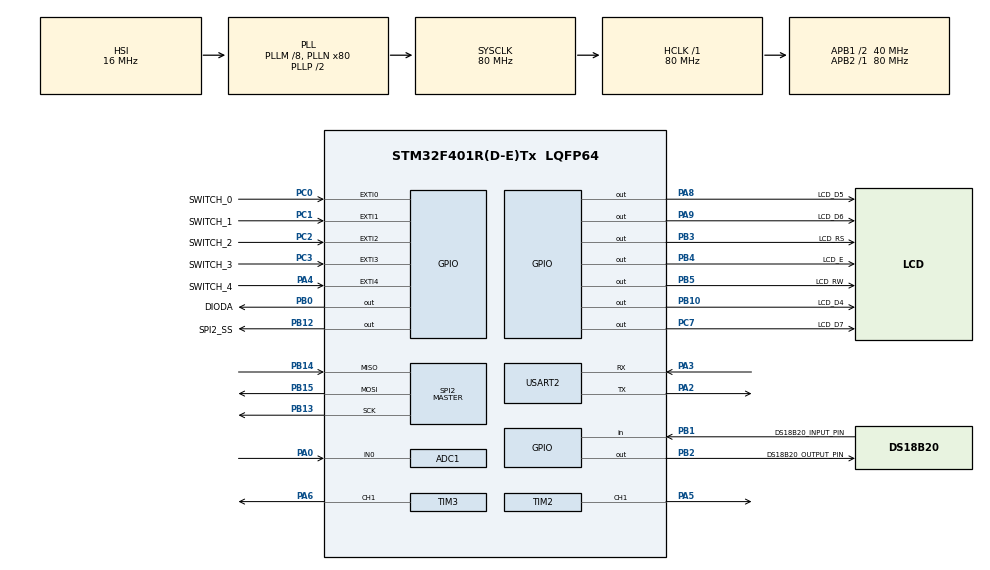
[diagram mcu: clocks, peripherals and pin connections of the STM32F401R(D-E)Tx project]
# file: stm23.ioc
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ADC1.Channel-3\#ChannelRegularConversion=ADC_CHANNEL_0
ADC1.Channel-4\#ChannelRegularConversion=ADC_CHANNEL_TEMPSENSOR
ADC1.ClockPrescaler=ADC_CLOCK_SYNC_PCLK_DIV8
ADC1.ContinuousConvMode=DISABLE
ADC1.DMAContinuousRequests=ENABLE
ADC1.EOCSelection=ADC_EOC_SEQ_CONV
ADC1.NbrOfConversion=2
ADC1.NbrOfConversionFlag=1
ADC1.Rank-3\#ChannelRegularConversion=1
ADC1.Rank-4\#ChannelRegularConversion=2
ADC1.SamplingTime-3\#ChannelRegularConversion=ADC_SAMPLETIME_480CYCLES
ADC1.SamplingTime-4\#ChannelRegularConversion=ADC_SAMPLETIME_480CYCLES
ADC1.master=1
Dma.ADC1.0.Direction=DMA_PERIPH_TO_MEMORY
Dma.ADC1.0.FIFOMode=DMA_FIFOMODE_DISABLE
Dma.ADC1.0.Instance=DMA2_Stream0
Dma.ADC1.0.MemDataAlignment=DMA_MDATAALIGN_WORD
Dma.ADC1.0.MemInc=DMA_MINC_ENABLE
Dma.ADC1.0.Mode=DMA_CIRCULAR
Dma.ADC1.0.PeriphDataAlignment=DMA_PDATAALIGN_WORD
Dma.ADC1.0.PeriphInc=DMA_PINC_DISABLE
Dma.ADC1.0.Priority=DMA_PRIORITY_LOW
Dma.Request0=ADC1
Mcu.Family=STM32F4
Mcu.Name=STM32F401R(D-E)Tx
Mcu.Package=LQFP64
NVIC.DMA2_Stream0_IRQn=true\:0\:0\:false\:false\:true\:false
NVIC.EXTI0_IRQn=true\:0\:0\:false\:false\:true\:true
NVIC.EXTI1_IRQn=true\:0\:0\:false\:false\:true\:true
NVIC.EXTI2_IRQn=true\:0\:0\:false\:false\:true\:true
NVIC.EXTI3_IRQn=true\:0\:0\:false\:false\:true\:true
NVIC.EXTI4_IRQn=true\:0\:0\:false\:false\:true\:true
NVIC.PriorityGroup=NVIC_PRIORITYGROUP_4
NVIC.TIM1_UP_TIM10_IRQn=true\:0\:0\:false\:false\:true\:true
NVIC.TIM5_IRQn=true\:0\:0\:false\:false\:true\:true
NVIC.USART2_IRQn=true\:0\:0\:false\:false\:true\:true
PA0-WKUP.Signal=ADCx_IN0
PA2.Mode=Asynchronous
PA2.Signal=USART2_TX
PA3.Mode=Asynchronous
PA3.Signal=USART2_RX
PA4.GPIO_Label=SWITCH_4
PA4.GPIO_ModeDefaultEXTI=GPIO_MODE_IT_FALLING
PA4.GPIO_PuPd=GPIO_PULLUP
PA4.Signal=GPXTI4
PA5.Signal=S_TIM2_CH1_ETR
PA6.Signal=S_TIM3_CH1
PA8.GPIO_Label=LCD_D5
PA8.Signal=GPIO_Output
PA9.GPIO_Label=LCD_D6
PA9.Signal=GPIO_Output
PB0.GPIO_Label=DIODA
PB0.Signal=GPIO_Output
PB1.GPIO_Label=DS18B20_INPUT_PIN
PB1.Signal=GPIO_Input
PB10.GPIO_Label=LCD_D4
PB10.Signal=GPIO_Output
PB12.GPIO_Label=SPI2_SS
PB12.PinState=GPIO_PIN_SET
PB12.Signal=GPIO_Output
PB13.Mode=Full_Duplex_Master
PB13.Signal=SPI2_SCK
PB14.Mode=Full_Duplex_Master
PB14.Signal=SPI2_MISO
PB15.Mode=Full_Duplex_Master
PB15.Signal=SPI2_MOSI
PB2.GPIO_Label=DS18B20_OUTPUT_PIN
PB2.GPIO_ModeDefaultOutputPP=GPIO_MODE_OUTPUT_OD
PB2.Signal=GPIO_Output
PB3.GPIO_Label=LCD_RS
PB3.Signal=GPIO_Output
PB4.GPIO_Label=LCD_E
PB4.Signal=GPIO_Output
PB5.GPIO_Label=LCD_RW
PB5.Signal=GPIO_Output
PC0.GPIO_Label=SWITCH_0
PC0.GPIO_ModeDefaultEXTI=GPIO_MODE_IT_FALLING
PC0.GPIO_PuPd=GPIO_PULLUP
PC0.Signal=GPXTI0
PC1.GPIO_Label=SWITCH_1
PC1.GPIO_ModeDefaultEXTI=GPIO_MODE_IT_FALLING
PC1.GPIO_PuPd=GPIO_PULLUP
PC1.Signal=GPXTI1
PC2.GPIO_Label=SWITCH_2
PC2.GPIO_ModeDefaultEXTI=GPIO_MODE_IT_FALLING
PC2.GPIO_PuPd=GPIO_PULLUP
PC2.Signal=GPXTI2
PC3.GPIO_Label=SWITCH_3
PC3.GPIO_ModeDefaultEXTI=GPIO_MODE_IT_FALLING
PC3.GPIO_PuPd=GPIO_PULLUP
PC3.Signal=GPXTI3
PC7.GPIO_Label=LCD_D7
PC7.Signal=GPIO_Output
ProjectManager.HeapSize=0x200
ProjectManager.StackSize=0x400
ProjectManager.TargetToolchain=MDK-ARM V5
RCC.48MHZClocksFreq_Value=40000000
RCC.AHBFreq_Value=80000000
RCC.APB1CLKDivider=RCC_HCLK_DIV2
RCC.APB1Freq_Value=40000000
RCC.APB1TimFreq_Value=80000000
RCC.APB2Freq_Value=80000000
RCC.APB2TimFreq_Value=80000000
RCC.CortexFreq_Value=80000000
RCC.HCLKFreq_Value=80000000
RCC.HSE_VALUE=25000000
RCC.HSI_VALUE=16000000
RCC.LSE_VALUE=32768
RCC.PLLM=8
RCC.PLLN=80
RCC.SYSCLKFreq_VALUE=80000000
RCC.SYSCLKSource=RCC_SYSCLKSOURCE_PLLCLK
RCC.VCOOutputFreq_Value=160000000
RTC.Date=23
RTC.DayLightSaving=RTC_DAYLIGHTSAVING_ADD1H
RTC.Hours=12
RTC.WeekDay=RTC_WEEKDAY_WEDNESDAY
RTC.Year=19
SH.ADCx_IN0.0=ADC1_IN0,IN0
SH.S_TIM2_CH1_ETR.0=TIM2_CH1,PWM Generation1 CH1
SH.S_TIM3_CH1.0=TIM3_CH1,PWM Generation1 CH1
SPI2.BaudRatePrescaler=SPI_BAUDRATEPRESCALER_128
SPI2.Direction=SPI_DIRECTION_2LINES
SPI2.Mode=SPI_MODE_MASTER
SPI2.VirtualType=VM_MASTER
TIM1.Period=250
TIM1.Prescaler=16000
TIM2.Channel-PWM\ Generation1\ CH1=TIM_CHANNEL_1
TIM2.CounterMode=TIM_COUNTERMODE_DOWN
TIM2.Period=1000
TIM2.Prescaler=80
TIM2.Pulse-PWM\ Generation1\ CH1=900
TIM3.Channel-PWM\ Generation1\ CH1=TIM_CHANNEL_1
TIM3.CounterMode=TIM_COUNTERMODE_DOWN
TIM3.Period=1000
TIM3.Prescaler=80
TIM3.Pulse-PWM\ Generation1\ CH1=500
TIM4.Period=65000
TIM4.Prescaler=80
TIM5.ClockDivision=TIM_CLOCKDIVISION_DIV1
TIM5.Period=5000
TIM5.Prescaler=16000
TIM9.Prescaler=16000
USART2.VirtualMode=VM_ASYNC
VP_ADC1_TempSens_Input.Mode=IN-TempSens
VP_FATFS_VS_Generic.Mode=User_defined
VP_RTC_VS_RTC_Activate.Mode=RTC_Enabled
VP_RTC_VS_RTC_Calendar.Mode=RTC_Calendar
VP_TIM1_VS_ClockSourceINT.Mode=Internal
VP_TIM2_VS_ClockSourceINT.Mode=Internal
VP_TIM3_VS_ClockSourceINT.Mode=Internal
VP_TIM4_VS_ClockSourceINT.Mode=Internal
VP_TIM5_VS_ClockSourceINT.Mode=Internal
VP_TIM9_VS_ClockSourceINT.Mode=Internal
board=custom

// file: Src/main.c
/* USER CODE BEGIN Header */
/**
  ******************************************************************************
  * @file           : main.c
  * @brief          : Main program body
  ******************************************************************************
  ** This notice applies to any and all portions of this file
  * that are not between comment pairs USER CODE BEGIN and
  * USER CODE END. Other portions of this file, whether
  * inserted by the user or by software development tools
  * are owned by their respective copyright owners.
  *
  * COPYRIGHT(c) 2018 STMicroelectronics
  *
  * Redistribution and use in source and binary forms, with or without modification,
  * are permitted provided that the following conditions are met:
  *   1. Redistributions of source code must retain the above copyright notice,
  *      this list of conditions and the following disclaimer.
  *   2. Redistributions in binary form must reproduce the above copyright notice,
  *      this list of conditions and the following disclaimer in the documentation
  *      and/or other materials provided with the distribution.
  *   3. Neither the name of STMicroelectronics nor the names of its contributors
  *      may be used to endorse or promote products derived from this software
  *      without specific prior written permission.
  *
  * THIS SOFTWARE IS PROVIDED BY THE COPYRIGHT HOLDERS AND CONTRIBUTORS "AS IS"
  * AND ANY EXPRESS OR IMPLIED WARRANTIES, INCLUDING, BUT NOT LIMITED TO, THE
  * IMPLIED WARRANTIES OF MERCHANTABILITY AND FITNESS FOR A PARTICULAR PURPOSE ARE
  * DISCLAIMED. IN NO EVENT SHALL THE COPYRIGHT HOLDER OR CONTRIBUTORS BE LIABLE
  * FOR ANY DIRECT, INDIRECT, INCIDENTAL, SPECIAL, EXEMPLARY, OR CONSEQUENTIAL
  * DAMAGES (INCLUDING, BUT NOT LIMITED TO, PROCUREMENT OF SUBSTITUTE GOODS OR
  * SERVICES; LOSS OF USE, DATA, OR PROFITS; OR BUSINESS INTERRUPTION) HOWEVER
  * CAUSED AND ON ANY THEORY OF LIABILITY, WHETHER IN CONTRACT, STRICT LIABILITY,
  * OR TORT (INCLUDING NEGLIGENCE OR OTHERWISE) ARISING IN ANY WAY OUT OF THE USE
  * OF THIS SOFTWARE, EVEN IF ADVISED OF THE POSSIBILITY OF SUCH DAMAGE.
  *
  ******************************************************************************
	*/

	/*! \mainpage Projekt PMIK 18Z: Uklad chlodzacy
 *
 * \section 	  Opis
 *
 * Projekt jest ukladem chlodzacym ktorego dzialanie opiera sie na pomiarze temperatury
 * odpowiednim czujnikiem i na podstawie wynikow uruchomienie wiatraczkow chlodzacych.
 * <br> Uklad komunikuje sie z uzytkownikiem przy uzyciu wyswietlacza LCD oraz zestawu
 * przyciskow, jak rowniez za posrednictwem UART z komputerem.<br> Uzytkownik ma wplyw na
 * tryb pomiaru okreslonym urzadzeniem, jak rowniez na moc pracy wiatraczkow oraz wartosc
 * temperatury granicznej.<br>
 * Dzialanie programu zaimpementowane zostalo przy uzyciu mikrokontrolera STM32, aplikacja
 * zas napisana w jezyku C.
 *
 * \section Peryferia
 *	Mikrokontroler STM32 F401RB<br>
 *	Termometr cyfrowy DS18B20<br>
 *	Termometr analogowy LM35<br>
 *	Wyswietlacz LCD RG1602A<br>
 *	2 Wiatraczki 5V firmy Sunon<br>
 *  Modul karty SD<br>
 *	Zestaw 4 przyciskow typu "tact-switch"<br>
 *	Mostek H do zasilania wiatrakow<br>
 *	Kasetka baterii do zasilania ukladu
 *
 *  \section Plik Main:
 *  Szczegolowy opis programu mozna znalezc w czesci opisujacej plik main.c <br>
 *
 * \section Projekt Wykonali:
 *  Piotr Drzymkowski<br>
 *  Borys Khachapuridze
 *

 */

/* USER CODE END Header */

#include "main.h"
#include "adc.h"
#include "dma.h"
#include "fatfs.h"
#include "rtc.h"
#include "spi.h"
#include "tim.h"
#include "usart.h"
#include "gpio.h"

/* USER CODE BEGIN Includes */
/** \brief Plik zawierajacy funkcje opozniajaca delay() uzywana w peryferiach ukladu */
#include "Delay.h"
/** \brief Plik zawierajacy obsluge termometru cyfrowego DS18B20 poprzez interfejs 1-wire*/
#include "DS18B20.h"
/** \brief Plik zawierajacy obsluge wyswietlacza LCD*/
#include "LCD_RG1602A.h"
#include "lcd.h"
#include <string.h>
/* USER CODE END Includes */

/* USER CODE BEGIN PD */
/** \brief Minimalny tryb pracy wiatraka okreslany jako wypelnienie sygnalu PWM */
#define FANSPEEDLOW 700
/** \brief Sredni tryb pracy wiatraka okreslany jako wypelnienie sygnalu PWM */
#define FANSPEEDMEDIUM 850
/** \brief Maksymalny tryb pracy wiatraka okreslany jako wypelnienie sygnalu PWM */
#define FANSPEEDHIGH 999
/** \brief Minimalna wartosc temepratury krytycznej jaka moze przyjac uklad */
#define TEMPERATURE_MIN 0
/** \brief Maksymalna wartosc temepratury krytycznej jaka moze przyjac uklad */
#define TEMPERATURE_MAX 70

/** \brief Tryb pracy ukladu jako pomiar rdzenia wewnetrznym czunikiem mikrokontrolera */
#define CORE 0
/** \brief Tryb pracy ukladu jako pomiar analogowym termometrem LM35*/
#define LM35 1
/** \brief Tryb pracy ukladu jako pomiar cyfrowym termometrem DS18B20 */
#define DS18B20 2

/* USER CODE END PD */

/* USER CODE BEGIN PV */
/** \brief Flaga okreslajaca czy zakonczono proces "debouncingu" dla przycisku Switch0 */
volatile uint8_t FLAG_SWITCH0_DEBOUNCING = 0;
/** \brief Flaga okreslajaca czy zakonczono proces "debouncingu" dla przycisku Switch1 */
volatile uint8_t FLAG_SWITCH1_DEBOUNCING = 0;
/** \brief Flaga okreslajaca czy zakonczono proces "debouncingu" dla przycisku Switch2 */
volatile uint8_t FLAG_SWITCH2_DEBOUNCING = 0;
/** \brief Flaga okreslajaca czy zakonczono proces "debouncingu" dla przycisku Switch3 */
volatile uint8_t FLAG_SWITCH3_DEBOUNCING = 0;
/** \brief Flaga okreslajaca czy nalezy dokonac pomiaru temperatury */
uint8_t FLAG_START_TEMPERATURE_MEASUREMENT = 0;
/** \brief Flaga okreslajaca czy przekroczono temeprature krytyczna i nalezy uruchomic wiatrak */
uint8_t FLAG_OVER_CRITICAL_TEMPERATURE = 0;
/** \brief Flaga okreslajaca czy nalezy zapisac w danym momencie dane na karcie SD*/
uint8_t FLAG_WRITE_SD = 0;
/** \brief Flaga okreslajaca czy nalezy zapisac w danym momencie konfiguracje urzadzenia*/
uint8_t FLAG_WRITE_CONFIG = 0;
/** \brief Flaga okreslajaca czy karta SD zostala poprawnie wykryta i znajduje sie na niej wystarczajaco miejsca*/
uint8_t FLAG_SD_SPACE_VALID = 0;
/** \brief Flaga okreslajaca stan pracy wiatraczka 1*/
uint8_t FLAG_FAN_1_WORK =0;
/** \brief Flaga okreslajaca stan pracy wiatraczka 2*/
uint8_t FLAG_FAN_2_WORK=0;
/** \brief Flaga wymuszajaca zapis informacji o wlaczeniu wiatraka*/
uint8_t FLAG_EVENT_ON=0;
/** \brief Flaga wymuszajaca zapis informacji o wylaczeniu wiatraka*/
uint8_t FLAG_EVENT_OFF=1;
/** \brief Tablica przechowujaca pomiary z przetwornika ADC */
uint32_t MeasurementADC[2] = {0};
/** \brief Wartosc zmierzonej i przeliczonej temperatury przez termometr LM35*/
volatile double Measurement_LM35 = 0;
/** \brief Wartosc zmierzonej i przeliczonej temperatury przez termometr DS18B20*/
volatile double Measurement_DS18B20 = 0;
/** \brief Wartosc zmierzonej i przeliczonej temperatury przez wewnetrzny czujnik STM*/
volatile double Measurement_CORE = 0;
/** \brief Zmienna okreslajaca ilosc sekund ktore minely od ostatniego pomiaru */
uint32_t seconds_counter = 0;
/** \brief Zmienna okreslajaca ilosc sekund ktore minely od ostatniego zapisu konfiguracji */
uint32_t sd_card_write_counter = 0;
/** \brief Okres, co ktory ma nastepowac pomiar */
uint32_t measurement_period = 0;
/** \brief Okres, co ktory konfiguracja zapisywana jest na karcie SD w celu odzyskania po utracie zasilania */
uint32_t sd_card_write_period = 0;//BORYS
/** \brief Tryb pomiaru urzadzenia */
uint8_t measurement_state = CORE;
/** \brief Tryb pracy wiatraka*/
uint16_t fan_speed = FANSPEEDLOW;
volatile uint32_t argument;
/** \brief Tablica znakow reprezentujaca bufor danych wysylanych poprzez UART */
char UART_BUFFER[100];
/** \brief Rozmiar bufora danych wysylanych poprzez UART */
volatile uint16_t UART_BUFFER_SIZE = 0;
/** \brief Tablica przechowujaca otrzymana wiadomosc z UART'a */
char UART_RECEIVED[20];
/** \brief Tablica przechowujaca kopie otrzymanej wiadomosc z UART'a */
char UART_RECEIVED_COPY[20];
/** \brief Tablica znakow reprezentujaca bufor danych wysylanych do wyswietlacza LCD */
char LCD_BUFFER[50];
/** \brief Tablica znakow reprezentujaca bufor danych wysylanych do karty SD */
char SD_BUFFER[250];
/** \brief Rozmiar bufora danych wysylanych do wyswietlacza LCD */
volatile uint16_t LCD_BUFFER_SIZE = 0;

/** \brief Wartosc temperaturey krytycznej ukladu */
uint32_t critical_temp = 25;
/** \brief Tablica znakow przechowujaca obecna wartosc gornej linii tekstu wyswietlanego na LCD */
char LCD_upper_line [16];
/** \brief Tablica znakow przechowujaca obecna wartosc dolnej linii tekstu wyswietlanego na LCD */
char LCD_lower_line [16];

//Fatfs object
FATFS FatFs;
//File object
FIL fil;
//SD space variables
uint32_t total_space, free_space;

int i_index = 0;
int presence = 0;
/* USER CODE END PV */

void SystemClock_Config(void);
/* USER CODE BEGIN PFP */
void SetFanState(void);
void UpdateFan(void);
void StartTemperatureMeasurement(void);
void SetDate(uint32_t unformated_date);
void SetTime(uint32_t unformated_time);
FRESULT FATFS_DriveSize(uint32_t* total, uint32_t* free);
/**
****************************************************************************************
* @brief 			Zmiana trybu pomiaru: CORE->LM35->DS18B20 <br><br>
*							Wywolywana w momencie wcisniecia przycisku Switch 0.
*
* @param 			Brak
*	@return			Brak
****************************************************************************************
*/
void CycleMeasurementState(){

	if(measurement_state == CORE)
  {
		measurement_state = LM35;
	}else if(measurement_state == LM35)
	{
		measurement_state=DS18B20;
	}else
	{
		measurement_state = CORE;
	}
}

/**
****************************************************************************************
* @brief 			Zmiana trybu mocy wiatraka: niska->srednia->duza. <br><br>
*							Wywolywana w momencie wcisniecia przycisku Switch 1.
*
* @param 			Brak
*	@return			Brak
****************************************************************************************
*/
void CycleFanState(){

	if(fan_speed == FANSPEEDLOW)
  {
		fan_speed = FANSPEEDMEDIUM;
	}else if(fan_speed  == FANSPEEDMEDIUM)
	{
		fan_speed=FANSPEEDHIGH;
	}else
	{
		fan_speed = FANSPEEDLOW;
	}
}

/**
****************************************************************************************
* @brief 			Matematyczne przeliczenie wartosci zmierzonej przez wewnetrzny czujnik
*							temperatury rdzenia mikrokontrolera na konkretna wartosc temperatury na
*							podstawie zadanego wzoru.
*
* @param 			uint32_t temperature: wartosc zmierzona przez czunik rdzenia
*	@return			(double) : wartosc temperatury
****************************************************************************************
*/
double TemperatureConversion_CORE(uint32_t temperature)
{
	double temp=temperature;
	temp=((temp*3.3/4095-0.76)/0.0025+25);
	if ((uint32_t)temp >=255) return 0;
	else return temp;
}

/**
****************************************************************************************
* @brief 			Matematyczne przeliczenie wartosci zmierzonej przez temrometr LM35 na
*							konkretna wartosc temperatury na podstawie zadanego wzoru.
*
* @param 			uint32_t temperature: wartosc zmierzona przez termometr LM35
*	@return			(double) : wartosc temperatury
****************************************************************************************
*/
double TemperatureConversion_LM35(uint32_t temperature)
{
	double temp=temperature;
	return ((temp*3.3/4095)/0.01);//10 mv/degC
}

/**
****************************************************************************************
* @brief 			Funkcja odbierajaca dane wyslane z komputera przez UART
*							poprzez obsluge callback'u zwiazanego z zakonczeniem odbioru.<br>
*							Funkcja na odebranie danych odpowiada przesylajac kopie wiadomosci z powrotem do nadawcy.<br>
*							Po odebraniu komend wymuszany jest nowy pomiar temperatury w celu aktualizacji stanu urzadzenia.<br>
*							Komendy wysylane z komputera musza byc 10 znakowe. Oto ich lista:
*							-> CMDTCRITxx - ustawienie temperatury krytycznej na zadana wartosc (np. CMDTCRIT10, ustawia na 10 stopni C)
*							-> CMDMODDS18 - tryb pomiaru za pomoca DS18B20
*							-> CMDMODLM35 - tryb pomiaru za pomoca LM35
*							-> CMDMODCORE - tryb pomiaru wewnetrznego Core mikrokontrolera
*							-> CMDFANHIGH - tryb mocy wiatraka: silny
*							-> CMDFANMEDI - tryb mocy wiatraka: sredni
*							-> CMDFANLOWE - tryb mocy wiatraka: niski
*							-> CDAxddmmyy - ustawienie i zapis daty (np.CDA1200119 ustawia date na poniedzialek 20 stycznia 2019 roku),x-numer dnia tygodnia
*							-> CTIMhhmmss - ustawienie i zapis godziny (np. CTIM120530 ustawia godzine na 12:05:30)
*							-> CMDDUMPCON - wymusza natychmiastowe zapisanie pliku konfiguracyjnego
*							-> CMDFACTORY - wymusza wstawienie do pliku konfiguracyjnego domyslnych wartosci
*
*
* @param 			UART_HandleTypeDef *huart: wskaznik na strukture zawierajaca informace konfiguracyjna
*							konkretnego USART'a
*	@return			Brak
****************************************************************************************
*/

void HAL_UART_RxCpltCallback(UART_HandleTypeDef *huart) {
	uint32_t temp_time_value;
	strlcpy(UART_RECEIVED_COPY,UART_RECEIVED,11);
	UART_BUFFER_SIZE = sprintf(UART_BUFFER, "%s\n\r" , UART_RECEIVED);
	HAL_UART_Transmit_IT(&huart2, (uint8_t*)UART_BUFFER, UART_BUFFER_SIZE); // Rozpoczecie nadawania danych z wykorzystaniem przerwan

	if(strstr(UART_RECEIVED_COPY, "CMDTCRIT") != NULL){

		//Szukanie intow na koncu stringa
		if(atoi(UART_RECEIVED_COPY+8) <= TEMPERATURE_MAX && atoi(UART_RECEIVED_COPY+8) >= TEMPERATURE_MIN)
			critical_temp = atoi(UART_RECEIVED_COPY+8);
		FLAG_START_TEMPERATURE_MEASUREMENT = 1;

	}
	if(strstr(UART_RECEIVED_COPY, "CDA") != NULL){

		temp_time_value=strtol(UART_RECEIVED_COPY+3,NULL,16);
		SetDate(temp_time_value);
		FLAG_START_TEMPERATURE_MEASUREMENT = 1;

	}
	if(strstr(UART_RECEIVED_COPY, "CTIM") != NULL){

		temp_time_value=strtol(UART_RECEIVED_COPY+4,NULL,16);
		SetTime(temp_time_value);
		FLAG_START_TEMPERATURE_MEASUREMENT = 1;

	}
	else if(strcmp(UART_RECEIVED_COPY,"CMDMODDS18")==0){

		measurement_state = DS18B20;
		FLAG_START_TEMPERATURE_MEASUREMENT = 1;

	}else if(strcmp(UART_RECEIVED_COPY,"CMDMODLM35")==0){

		measurement_state = LM35;
		FLAG_START_TEMPERATURE_MEASUREMENT = 1;

	}else if(strcmp(UART_RECEIVED_COPY,"CMDMODCORE")==0){

		measurement_state = CORE;
		FLAG_START_TEMPERATURE_MEASUREMENT = 1;

	}else if(strcmp(UART_RECEIVED_COPY,"CMDFANHIGH")==0){

		fan_speed = FANSPEEDHIGH;
		FLAG_START_TEMPERATURE_MEASUREMENT = 1;

	}else if(strcmp(UART_RECEIVED_COPY,"CMDFANLOWE")==0){

		fan_speed = FANSPEEDLOW;
		FLAG_START_TEMPERATURE_MEASUREMENT = 1;

	}else if(strcmp(UART_RECEIVED_COPY,"CMDFANMEDI")==0){

		fan_speed = FANSPEEDMEDIUM;
		FLAG_START_TEMPERATURE_MEASUREMENT = 1;

	}
	else if(strcmp(UART_RECEIVED_COPY,"CMDDUMPCON")==0){

		FLAG_WRITE_CONFIG=1;
	}
	else if(strcmp(UART_RECEIVED_COPY,"CMDFACTORY")==0){

		FLAG_WRITE_CONFIG=2;
	}

	HAL_UART_Receive_IT(&huart2, (uint8_t*)UART_RECEIVED, 10); // Ponowne wlaczenie nasluchiwania
}

/**
****************************************************************************************
* @brief 			Ustawienie daty zegara czasu rzeczywistego RTC<br><br>
*							Dane do ustawiania daty dostarczane sa w formacie xddmmyy<br>
*							x: dzien tygodnia 1-7<br>
*							dd: dzien 01-31<br>
*							mm: miesiac 01-12<br>
*							yy: rok 00-99<br>
*							Otrzymanie niepoprawnych danych powoduje ustawienie pola danych z wartosci domyslnych: poniedzialek 01.01.2000<br>
*							Funkcja wypelnia strukture typu RTC_DateTypeDef zgodnie z otrzymanymi danymi po czym
*							wywoluje funkcje konfiguracyjna HAL_RTC_SetDate(&hrtc,&data_structure,RTC_FORMAT_BCD);<br>
*
* @param 			uint32_t unformated_date: dane okreslajace date w formacie xddmmyy (x-numer dnia tygodnia)
*	@return			Brak
****************************************************************************************
*/
void SetDate(uint32_t unformated_date)
{
	//xddmmyy
	uint32_t temp;
	RTC_DateTypeDef data_structure;
	temp=(unformated_date & 0xff);
	if(temp >= 0x01 && temp <= 0x99)
	{
		data_structure.Year=temp;
	}
	else
	{
		data_structure.Year=0x00;
	}
	temp=((unformated_date >> 8) & 0xff);
	if(temp >= 0x01 && temp <= 0x12)
	{
		data_structure.Month=temp;
	}
	else
	{
		data_structure.Month=RTC_MONTH_JANUARY;
	}
	temp=((unformated_date >> 16) & 0xff);
	if(temp>=0x01 && temp<=0x31)
	{
		data_structure.Date=temp;
	}
	else
	{
		data_structure.Date=0x01;
	}
	temp=((unformated_date >> 24) & 0xf);
	if(temp >= 0x1 && temp <= 0x7)
	{
		data_structure.WeekDay=temp;
	}
	else
	{
		data_structure.WeekDay=RTC_WEEKDAY_MONDAY;
	}
	HAL_RTC_SetDate(&hrtc,&data_structure,RTC_FORMAT_BCD);
}

/**
****************************************************************************************
* @brief 			Ustawienie czasu zegara czasu rzeczywistego RTC<br><br>
*							Dane do ustawiania czasu dostarczane sa w formacie hhmmss<br>
*							hh: godziny 00-23<br>
*							mm: minuty 00-59<br>
*							ss: sekundy 00-59<br>
*							Otrzymanie niepoprawnych danych powoduje ustawienie pola danych z wartosci domyslnych: 12:00:00<br>
*							Funkcja wypelnia strukture typu RTC_TimeTypeDef zgodnie z otrzymanymi danymi po czym
*							wywoluje funkcje konfiguracyjna HAL_RTC_SetTime(&hrtc,&time_structure,RTC_FORMAT_BCD)<br>
*
* @param 			uint32_t unformated_time: dane okreslajace czas w formacie hhmmss
*	@return			Brak
****************************************************************************************
*/
void SetTime(uint32_t unformated_time)
{
	//hhmmss
	uint32_t temp;
	RTC_TimeTypeDef time_structure;
	temp=(unformated_time & 0xff);
	if(temp >= 0x01 && temp <= 0x59)
	{
		time_structure.Seconds=temp;
	}
	else
	{
		time_structure.Seconds=0x00;
	}
	temp=((unformated_time >> 8) & 0xff);
	if(temp >= 0x01 && temp <= 0x59)
	{
		time_structure.Minutes=temp;
	}
	else
	{
		time_structure.Minutes=0x00;
	}
	temp=((unformated_time >> 16) & 0xff);
	if(temp >=0x01 && temp<= 0x23)
	{
		time_structure.Hours=temp;
	}
	else
	{
		time_structure.Hours=0x12;
	}
	HAL_RTC_SetTime(&hrtc,&time_structure,RTC_FORMAT_BCD);
}

/**
****************************************************************************************
* @brief 			Zapisanie konfiguracji na karcie SD<br><br>
*							Dane konfiguracyjne zapisywane sa w postaci:<br>
*							godzina, minuty, sekundy, dzien_tygodnia, dzien, miesiac, rok, czujnik, temperatura_krytyczna, tryb_wiatraka<br>
*							W zaleznosci od stanu flagi FLAG_WRITE_CONFIG zapisywane sa biezace wartosci, lub domyslne: <br>
*							1: zapis biezacych wartosci
*							2: zapis domyslnych wartosci
*							Funkcja pobiera dane o czasie przy pomocy wywolania HAL_RTC_GetTime i HAL_RTC_GetDate. Wazna jest kolejnosc wywolan,
*							uzycie tych funkcji w innej kolejnosci spowoduje utrate spojnosci otrzymywanych danych (HAL_RTC_GetDate zwraca
*							date pozyskana w momencie wywolania funkcji HAL_RTC_GetTime)<br>
*
* @param 			Brak
*	@return			Brak
****************************************************************************************
*/
void WriteConfig(void)
{
	RTC_TimeTypeDef time_structure;
	RTC_DateTypeDef data_structure;
	HAL_RTC_GetTime(&hrtc,&time_structure,RTC_FORMAT_BCD);
	HAL_RTC_GetDate(&hrtc,&data_structure,RTC_FORMAT_BCD);
	if(FLAG_SD_SPACE_VALID ==1)
	{
		if(FLAG_WRITE_CONFIG ==1)
			{
				if (f_mount(&FatFs, "0:", 1) == FR_OK)
					{
						if (f_open(&fil, "0:config.txt", FA_CREATE_ALWAYS | FA_READ | FA_WRITE) == FR_OK)
						{
							snprintf(SD_BUFFER,250,"HH, MM, SS, dTygodnia, DD, MM, YY, czujnik, tcrit, trybWiatraka\n\r");
							if (f_puts(SD_BUFFER, &fil) < 0)
							{
								FLAG_SD_SPACE_VALID = 0;
							}
							snprintf(SD_BUFFER,250,"%.2x,%.2x,%.2x,%.1x,%.2x,%.2x,%.2x,%u,%u,%u",
							time_structure.Hours,
							time_structure.Minutes,
							time_structure.Seconds,
							data_structure.WeekDay,
							data_structure.Date,
							data_structure.Month,
							data_structure.Year,
							measurement_state,
							critical_temp,
							fan_speed);
							if (f_puts(SD_BUFFER, &fil) < 0)
							{
								FLAG_SD_SPACE_VALID = 0;
							}
						}
						f_close(&fil);
					}
					else
					{
						FLAG_SD_SPACE_VALID = 0;
					}
					f_mount(0, "0:", 1);
				}
			else if(FLAG_WRITE_CONFIG ==2)
			{
				if (f_mount(&FatFs, "0:", 1) == FR_OK)
					{
						if (f_open(&fil, "0:config.txt", FA_CREATE_ALWAYS | FA_READ | FA_WRITE) == FR_OK)
						{
							snprintf(SD_BUFFER,250,"HH, MM, SS, dTygodnia, DD, MM, YY, czujnik, tcrit, trybWiatraka\n\r");
							if (f_puts(SD_BUFFER, &fil) < 0)
							{
								FLAG_SD_SPACE_VALID = 0;
							}
							snprintf(SD_BUFFER,250,"%.2x,%.2x,%.2x,%.1x,%.2x,%.2x,%.2x,%u,%u,%u",
							0x12,
							0x00,
							0x00,
							0x01,
							0x01,
							0x01,
							0x00,
							CORE,
							25,
							FANSPEEDLOW);
							if (f_puts(SD_BUFFER, &fil) < 0)
							{
								FLAG_SD_SPACE_VALID = 0;
							}
						}
						f_close(&fil);
					}
					else
					{
						FLAG_SD_SPACE_VALID = 0;
					}
					f_mount(0, "0:", 1);
			}
			FLAG_WRITE_CONFIG = 0;
		}
}

/**
****************************************************************************************
* @brief 			Ladowanie konfiguracji z karty SD<br><br>
*							Dane konfiguracyjne zapisywane sa w postaci:<br>
*							godzina, minuty, sekundy, dzien_tygodnia, dzien, miesiac, rok, czujnik, temperatura_krytyczna, tryb_wiatraka<br>
*							Konfiguracja zapisywana jest automatycznie co minute (domyslnie), wiec utrata zasilania na niewielka ilosc czasu
*							po czym wczytanie ostatnich zapisanych danych z karty sd pozwala na dalsza prace z niewielkim bledem czasu. <br>
*							Funkcja pobiera dane o czasie przy pomocy wywolania HAL_RTC_GetTime i HAL_RTC_GetDate. Wazna jest kolejnosc wywolan,
*							uzycie tych funkcji w innej kolejnosci spowoduje utrate spojnosci otrzymywanych danych (HAL_RTC_GetDate zwraca
*							date pozyskana w momencie wywolania funkcji HAL_RTC_GetTime).<br>
*							Funkcja jest wywolywana przy starcie programu.<br>
*
* @param 			Brak
*	@return			Brak
****************************************************************************************
*/
void LoadConfig(void)
{
	RTC_TimeTypeDef time_structure;
	RTC_DateTypeDef data_structure;
	char TEMP_BUFFER[250];
	char *data;
	if(FLAG_SD_SPACE_VALID ==1)
	{
				if (f_mount(&FatFs, "0:", 1) == FR_OK)
					{
						if (f_open(&fil, "0:config.txt", FA_OPEN_ALWAYS | FA_READ | FA_WRITE) == FR_OK)
						{

							if(f_eof(&fil))
							{
								FLAG_WRITE_CONFIG = 2;
								WriteConfig();
							}
							else
						{
								//	snprintf(SD_BUFFER,250,"HH, MM, SS, dTygodnia, DD, MM, YY, czujnik, tcrit, trybWiatraka\n\r");
								f_gets(TEMP_BUFFER,sizeof(TEMP_BUFFER),&fil);
								f_gets(TEMP_BUFFER,sizeof(TEMP_BUFFER),&fil);
								strcat(TEMP_BUFFER,"/0");

								data=strtok(TEMP_BUFFER,",");
								time_structure.Hours=(int)strtol(data,NULL,16);
								data=strtok(NULL,",");
								time_structure.Minutes=(int)strtol(data,NULL,16);
								data=strtok(NULL,",");
								time_structure.Seconds=(int)strtol(data,NULL,16);
								data=strtok(NULL,",");
								data_structure.WeekDay=(int)strtol(data,NULL,16);
								data=strtok(NULL,",");
								data_structure.Date=(int)strtol(data,NULL,16);
								data=strtok(NULL,",");
								data_structure.Month=(int)strtol(data,NULL,16);
								data=strtok(NULL,",");
								data_structure.Year=(int)strtol(data,NULL,16);
								data=strtok(NULL,",");
								measurement_state=(int)strtol(data,NULL,10);
								data=strtok(NULL,",");
								critical_temp=(int)strtol(data,NULL,10);
								data=strtok(NULL,",");
								fan_speed=(int)strtol(data,NULL,10);
								HAL_RTC_SetDate(&hrtc,&data_structure,RTC_FORMAT_BCD);
								HAL_RTC_SetTime(&hrtc,&time_structure,RTC_FORMAT_BCD);
							}
						}
						f_close(&fil);
					}
					else
					{
						FLAG_SD_SPACE_VALID = 0;
					}
					f_mount(0, "0:", 1);
	}

}

/**
****************************************************************************************
* @brief 			Wlaczenie timera htim1 celem opoznienia odczytu wartosci przycisku,
*							ktory przez pierwsza, krotka chwile jest niepewny w wyniku zjawiska
*							"bouncingu". <br><br>
*							Wywolywana dla odpowiedniego pinu przypisanego do switcha zglaszajacego
*							przerwanie.<br>
*							Wylacza reakcje na przerwania zewnetrze pochodzace z odpowiedniej linii
*							(przez wywolanie odpowiedniej funkcji kontrolera przerwan:<br>
*							NVIC HAL_NVIC_DisableIRQ(IRQn_Type IRQn).<br>
*
* @param 			uint16_t GPIO_Pin: okresla pin, do ktorego przypisany jest switch
*	@return			Brak
****************************************************************************************
*/

void SwitchDebouncing(uint16_t GPIO_Pin){

	switch(GPIO_Pin){

		case SWITCH_0_Pin:
		if(FLAG_SWITCH0_DEBOUNCING == 0)
			{
				HAL_TIM_Base_Start_IT(&htim1);
				HAL_NVIC_DisableIRQ(EXTI0_IRQn);
				FLAG_SWITCH0_DEBOUNCING = 1;
			}
			break;
		case SWITCH_1_Pin:
		if(FLAG_SWITCH1_DEBOUNCING == 0)
			{
				HAL_TIM_Base_Start_IT(&htim1);
				HAL_NVIC_DisableIRQ(EXTI1_IRQn);
				FLAG_SWITCH1_DEBOUNCING = 1;
			}
			break;
				case SWITCH_2_Pin:
		if(FLAG_SWITCH2_DEBOUNCING == 0)
			{
				HAL_TIM_Base_Start_IT(&htim1);
				HAL_NVIC_DisableIRQ(EXTI2_IRQn);
				FLAG_SWITCH2_DEBOUNCING = 1;
			}
			break;
		case SWITCH_3_Pin:
		if(FLAG_SWITCH3_DEBOUNCING == 0)
			{
				HAL_TIM_Base_Start_IT(&htim1);
				HAL_NVIC_DisableIRQ(EXTI3_IRQn);
				FLAG_SWITCH3_DEBOUNCING = 1;
			}
			break;

		}
}

/**
********************************************************************************************
* @brief 			Obsluga wyswietlania na ekranie LCD 16x2. <br>
*							Funkcja ta dokonuje wyczyszczenia zawartosci wyswietlacza i wpisania linii
*							tekstu gornej i dolnej czesci ekranu. W przypadku zmiany parametru gornej linii
*							(np. trybu pomiaru) nastepuje odpowiednia aktualizacja zmiennej LCD_upper_line
*							i jej wyswietlenie poprzez funkcje LCD_String. Dolna linijka jest wtedy
*							zapamietana w zmiennej LCD_lower_line i rowniez wyswietlona. W przypadku zmiany
* 						parametrow dolnej linii dzieje sie analogicznie.
*
*
* @param 			uint8_t mode: dla 0- nadpisanie gornej linii ekranu, dla 1- dolnej linii
*	@return			Brak
********************************************************************************************
*/
void UpdateLCD(uint8_t mode)
{
		LCD_Cls();
	if(mode==0){
		LCD_Locate(0,0);
		if(measurement_state == CORE)
				sprintf(LCD_BUFFER,"CORE: %d", (uint32_t)Measurement_CORE);
		if(measurement_state==LM35)
				sprintf(LCD_BUFFER,"LM35: %d", (uint32_t)Measurement_LM35);
		if(measurement_state==DS18B20)
				sprintf(LCD_BUFFER,"DS18: %d", (uint32_t)Measurement_DS18B20);

		if(FLAG_OVER_CRITICAL_TEMPERATURE == 1)
				strcat(LCD_BUFFER, "|ON");

		LCD_String(LCD_BUFFER);
			//sprintf(LCD_BUFFER,"%s", LCD_upper_line);
			sprintf(LCD_upper_line,"%s", LCD_BUFFER);
		LCD_Locate(0,1);
			sprintf(LCD_BUFFER,"%s",LCD_lower_line);
		LCD_String(LCD_BUFFER);

	}else if(mode==1){
		LCD_Locate(0,0);
		sprintf(LCD_BUFFER,"%s",LCD_upper_line);
		LCD_String(LCD_BUFFER);
		LCD_Locate(0,1);
			if(fan_speed==FANSPEEDLOW)
					sprintf(LCD_BUFFER,"Kryt:%d|Tryb:0",critical_temp);
			else if(fan_speed==FANSPEEDMEDIUM)
					sprintf(LCD_BUFFER,"Kryt:%d|Tryb:1",critical_temp);
			else if(fan_speed==FANSPEEDHIGH)
					sprintf(LCD_BUFFER,"Kryt:%d|Tryb:2",critical_temp);
		LCD_String(LCD_BUFFER);
			sprintf(LCD_lower_line,"%s", LCD_BUFFER);
	}
}

/**
********************************************************************************************
* @brief 			Wywolanie funkcji SwitchDebouncing w momencie zgloszenia przerwania przez
*							ktorys switch
*
* @param 			uint16_t GPIO_Pin: okresla pin przycisku, ktory zglasza przerwanie
*	@return			Brak
********************************************************************************************
*/

void HAL_GPIO_EXTI_Callback(uint16_t GPIO_Pin){

		//if(HAL_GPIO_ReadPin(SWITCH_0_GPIO_Port, GPIO_Pin)==GPIO_PIN_SET)
		//HAL_GPIO_TogglePin(DIODA_GPIO_Port,DIODA_Pin);
		//handler_zmienna=handler_zmienna+1;
		SwitchDebouncing(GPIO_Pin);
}

/**
********************************************************************************************
* @brief 			Zmiana wartosci temperatury krytycznej o 1 w gore lub w dol przy obsludze
*							przyciskami w okreslonym dla programu zakresie.<br><br>
*							Switch 2: wzrost o 1
*							Switch 3: spadek o 1
*
* @param 			uint8_t mode: dla 0- zwiekszenie temp. krytycznej o 1; dla 1- zmniejszenie o 1
*	@return			Brak
********************************************************************************************
*/

void ChangeCriticalTemp(uint8_t mode){

	if(mode == 0)
		if(critical_temp <= TEMPERATURE_MAX+1)
		{
			critical_temp += 1;
		}

	if(mode == 1)
		if(critical_temp >= TEMPERATURE_MIN+1)
		{
			critical_temp -= 1;
		}
}

/**
****************************************************************************************
* @brief 			Obsluga akcji wcisniecia klawiszy "switch" (0,1,2,3). <br>
*							Wywolywana za posrednictwem funkcji przerwania HAL_TIM_PeriodElapsedCallback
*
* @param 			uint16_t GPIO_PIN: okresla konretny pin, ktoremu odpowiada switch
*	@return			Brak
****************************************************************************************
*/

void SwitchAction(uint16_t GPIO_PIN){

	switch(GPIO_PIN)
	{

		//Switch zmieniajacy tryb pomiaru CORE->LM35->DS18B20

		case SWITCH_0_Pin:
		//	HAL_GPIO_TogglePin(DIODA_GPIO_Port,DIODA_Pin);
		//	handler_zmienna=handler_zmienna+1;
			CycleMeasurementState();
			UpdateLCD(0);
			break;

		//	Switch zmieniajacy tryb pracy wiatraczka LOW->MEDIUM->HIGH

		case SWITCH_1_Pin:
		//handler_zmienna=handler_zmienna+1;
			CycleFanState();
			UpdateLCD(1);
			break;

		//	Switch zwiekszajacy temp. krytyczna o 1 stopien

		case SWITCH_2_Pin:
			ChangeCriticalTemp(0);
			UpdateLCD(1);
			break;

		//	Switch zmniejszajacy temp. krytyczna o 1 stopien

		case SWITCH_3_Pin:
			ChangeCriticalTemp(1);
			UpdateLCD(1);
			break;
	}

}

/**
****************************************************************************************
* @brief 			Funkcja obslugi przerwania licznikow. Wywolywana w przypadku wykonania
*							funkcji SwitchDebouncing. <br>W odpowiednich instrukcjach warunkowych sprawdzany
*							jest licznik zglaszajacy przerwanie i wykonywana obsluga: switchy
*							(funkcja SwitchAction) wraz ze zdjeciem flagi "DEBOUNCING"; karty SD;
*							pomiaru temperatury.<br> Do kazdego z tych zdarzen przypisany jest odpowiedni
*							timer
*
* @param 			TIM_HandleTypeDef *htim: wskaznik na okreslony licznik zglaszajacy
*							przerwanie, czyli doliczenie do konca okresu
*	@return			Brak
****************************************************************************************
*/

void HAL_TIM_PeriodElapsedCallback(TIM_HandleTypeDef *htim){

		if(htim->Instance == TIM1)
		{
			HAL_NVIC_EnableIRQ(EXTI0_IRQn);
			HAL_NVIC_EnableIRQ(EXTI1_IRQn);
			HAL_NVIC_EnableIRQ(EXTI2_IRQn);
			HAL_NVIC_EnableIRQ(EXTI3_IRQn);
			if(HAL_GPIO_ReadPin(SWITCH_0_GPIO_Port, SWITCH_0_Pin) == GPIO_PIN_RESET && FLAG_SWITCH0_DEBOUNCING==1)
			{
				SwitchAction(SWITCH_0_Pin);
				FLAG_SWITCH0_DEBOUNCING = 0;
			}
			if(HAL_GPIO_ReadPin(SWITCH_1_GPIO_Port, SWITCH_1_Pin) == GPIO_PIN_RESET && FLAG_SWITCH1_DEBOUNCING==1)
			{
				SwitchAction(SWITCH_1_Pin);
				FLAG_SWITCH1_DEBOUNCING = 0;
			}
			if(HAL_GPIO_ReadPin(SWITCH_2_GPIO_Port, SWITCH_2_Pin) == GPIO_PIN_RESET && FLAG_SWITCH2_DEBOUNCING==1)
			{
				SwitchAction(SWITCH_2_Pin);
				FLAG_SWITCH2_DEBOUNCING = 0;
			}
			if(HAL_GPIO_ReadPin(SWITCH_3_GPIO_Port, SWITCH_3_Pin) == GPIO_PIN_RESET && FLAG_SWITCH3_DEBOUNCING==1)
			{
				SwitchAction(SWITCH_3_Pin);
				FLAG_SWITCH3_DEBOUNCING = 0;
			}
			if(FLAG_SWITCH0_DEBOUNCING==0 && FLAG_SWITCH1_DEBOUNCING==0 && FLAG_SWITCH2_DEBOUNCING==0 && FLAG_SWITCH3_DEBOUNCING==0)
			{
			HAL_TIM_Base_Stop_IT(&htim1);
			}
		}
		if(htim->Instance == TIM5)
		{
			seconds_counter++;
			sd_card_write_counter++;
			SetFanState();
			UpdateFan();

			if (seconds_counter >= measurement_period)
			{
				seconds_counter = 0;
				FLAG_START_TEMPERATURE_MEASUREMENT = 1;
			}
			if (sd_card_write_counter >= sd_card_write_period)
			{
				sd_card_write_counter = 0;
				FLAG_WRITE_CONFIG = 1;
			}

}
}

/**
****************************************************************************************
* @brief 			Sprawdzenie, czy dla obecnego trybu pomiaru temepratura nie przekracza
*							krytycznej, ustalonej wartosci. <br> Wartosc zwracana przez funkcje
*							przez funkcje jest przypisywana do flagi FLAG_OVER_CRITICAL_TEMPERATURE,
*							ktora w funkcj main zglasza odpowiednie przerwanie.
*
* @param 			Brak
*	@return			(uint8_t) : 0- temperatura ponizej krytycznej; 1- ponad krytyczna
****************************************************************************************
*/
uint8_t IsTempOverCritical()
{

		switch(measurement_state)
		{
			case CORE:
				if(Measurement_CORE >= critical_temp)
						return 1;
				break;
			case LM35:
					if(Measurement_LM35 >= critical_temp)
						return 1;
				break;
			case DS18B20:
					if(Measurement_DS18B20 >= critical_temp)
						return 1;
				break;

		}
		return 0;
}

/**
****************************************************************************************
* @brief 			Pomiar temperatury odpowiednim sposobem.<br> <br>
*							Funkcja wywolywana jest w przerwaniu, w przypadku, gdy odpowiedni timer
*							je zglosi oraz w okreslonych przypadkach zmian parametrow pomiaru.
*							W przypadku trybu CORE lub LM35 stosujemy pomiar ADC z uzyciem DMA, jego
*							zapis do tablicy MeasurementADC i odpowiednie przypisanie do zmiennych
*							pomiarowych. <br>
*							Pomiar w przerwaniu jest realizowany poprzez sprawdzenie stanu flagi
*							FLAG_START_TEMPERATURE_MEASUREMENT w petl whie funkcji main. Flaga
*							ta jest ustalana na wartosc 1, gdy minie okres czasu okreslony zmienna
*							measurement_period i zerowana na koncu wywolania funkcji.
*							W przypadku pomiaru termometrem cyfrowym DS18B20 wywolywana jest funkcja
*							DS18B20_ReadTemperature, a jej wartosc zwracana przypisywana jest do
*							zmiennej pomiarowej termometru.<br>
*							Po kazdorazowym pomiarze sprawdzane jest, czy temepratura obecna nie
*							przekracza krytycznej jak rowniez nastepuje aktualizacja LCD.<br>
*
* @param 			Brak
*	@return			Brak
****************************************************************************************
*/

void StartTemperatureMeasurement()
{
			switch(measurement_state)
			{
				case CORE:
				HAL_ADC_Start_DMA(&hadc1, MeasurementADC, sizeof(MeasurementADC)/sizeof(MeasurementADC[0]));

				//nie wiem czy to na pewno ten element z tablicy ADC
				Measurement_CORE = (uint32_t)TemperatureConversion_CORE(MeasurementADC[1]);

				FLAG_OVER_CRITICAL_TEMPERATURE = IsTempOverCritical();
				break;

				case LM35:
				HAL_ADC_Start_DMA(&hadc1, MeasurementADC, sizeof(MeasurementADC)/sizeof(MeasurementADC[0]));

				//nie wiem czy to na pewno ten element z tablicy ADC
				Measurement_LM35 = (uint32_t)TemperatureConversion_LM35(MeasurementADC[0]);

				FLAG_OVER_CRITICAL_TEMPERATURE = IsTempOverCritical();
					break;

				case DS18B20:
						Measurement_DS18B20 = DS18B20_ReadTemperature();
						FLAG_OVER_CRITICAL_TEMPERATURE = IsTempOverCritical();
						break;
			}
			UpdateLCD(0);
			UpdateLCD(1);
			UpdateFan();

		FLAG_START_TEMPERATURE_MEASUREMENT = 0;
}

/**
****************************************************************************************
* @brief 			Ustawienie parametrow pracy wiatrakow<br><br>
*							W zaleznosci od zmiennych globalnych measurement_state oraz fan_speed
*							ustawiane sa rejestry CCR1 odpowiednich timerow odpowiedzialnych za sterowanie
*							wiatrakami przy pomocy generacji sygnalu modulowanego PWM o wypelnieniu zaleznym od
*							wartosci rejestrow CCR1.
*							<br>
*							Zmiana wartosci rejestrow nie aktualizuje od razu pracy timerow, wymagane jest wywolanie funkcji
*							UpdateFan()
*
*
* @param 			Brak
*	@return			Brak
****************************************************************************************
*/
void SetFanState()
	//TODO W zaleznosci od measurementstate wybieramy wiatrak, oraz jego predkosc zalezna od fanSpeed
{

		if(measurement_state == CORE)
		{

			switch(fan_speed){

				case FANSPEEDLOW:
					htim2.Instance->CCR1 = FANSPEEDLOW;
					break;
				case FANSPEEDMEDIUM:
					htim2.Instance->CCR1 = FANSPEEDMEDIUM;
					break;
				case FANSPEEDHIGH:
					htim2.Instance->CCR1 = FANSPEEDHIGH;
					break;
				default:
					htim2.Instance->CCR1 = FANSPEEDLOW;
					break;

			}
//			if (FLAG_OVER_CRITICAL_TEMPERATURE==1) HAL_TIM_PWM_Start(&htim2,TIM_CHANNEL_1);
		}
		else if(measurement_state == DS18B20 || measurement_state == LM35)
		{
			switch(fan_speed){

				case FANSPEEDLOW:
					htim3.Instance->CCR1 = FANSPEEDLOW;
					break;
				case FANSPEEDMEDIUM:
					htim3.Instance->CCR1 = FANSPEEDMEDIUM;
					break;
				case FANSPEEDHIGH:
					htim3.Instance->CCR1 = FANSPEEDHIGH;
					break;
				default:
					htim3.Instance->CCR1 = FANSPEEDLOW;
					break;

			}
//			HAL_TIM_PWM_Start(&htim2,TIM_CHANNEL_1);
		}
}

/**
****************************************************************************************
* @brief 			Aktualizacja stanu pracy wiatrakow<br> <br>
*							W zaleznosci od measurement_state wlaczany jest odpowiedni wiatrak, a niewybrany aktualnie wiatrak
*							jest wylaczany<br>
*							Sterowanie wiatrakami odbywa sie przez wlaczenie generacji sygnalu PWM na
*							kanalach pierwszych timerow htim2 lub htim3, w zaleznosci od aktywnego urzadzenia pomiarowego<br>
*							Wlaczenie PWM nastepuje tylko wtedy, gdy pomiar temperatury przekracza wartosc graniczna
*							(flaga FLAG_OVER_CRITICAL_TEMPERATURE rowna 1)<br>
*							Sygnal PWM nie wysterowuje bezposrednio wiatrakow, lecz jest podawany na odpowiednie wejscia
*							modulu sterujacego L293D<br>
*							Funkcja powoduje rowniez zapis informacji o wlaczeniu wiatraka w pliku log.txt poprzez ustawienie
*							flagi FLAG_WRITE_SD.<br>
*
* @param 			Brak
*	@return			Brak
****************************************************************************************
*/
void UpdateFan()
{
		if (FLAG_OVER_CRITICAL_TEMPERATURE==1)
		{
			if(FLAG_EVENT_ON == 0)
			{
				FLAG_EVENT_ON = 1;
				FLAG_EVENT_OFF = 0;
				FLAG_WRITE_SD = 1;
			}
			if(measurement_state == CORE)
			{
				if(FLAG_FAN_1_WORK == 0)
				{
					HAL_TIM_PWM_Start(&htim2,TIM_CHANNEL_1);
					FLAG_FAN_1_WORK = 1;
				}
				if(FLAG_FAN_2_WORK == 1)
				{
					HAL_TIM_PWM_Stop(&htim3,TIM_CHANNEL_1);
					FLAG_FAN_2_WORK = 0;
				}
			}
			else if(measurement_state == DS18B20 || measurement_state == LM35)
			{
				if(FLAG_FAN_2_WORK == 0)
				{
					HAL_TIM_PWM_Start(&htim3,TIM_CHANNEL_1);
					FLAG_FAN_2_WORK = 1;
				}
				if(FLAG_FAN_1_WORK == 1)
				{
					HAL_TIM_PWM_Stop(&htim2,TIM_CHANNEL_1);
					FLAG_FAN_1_WORK = 0;
				}
			}
		}
		else if (FLAG_OVER_CRITICAL_TEMPERATURE ==0)
		{
			if(FLAG_EVENT_OFF == 0)
			{
				FLAG_EVENT_OFF = 1;
				FLAG_EVENT_ON = 0;
				FLAG_WRITE_SD = 1;
			}
			if(FLAG_FAN_1_WORK == 1)
				{
					HAL_TIM_PWM_Stop(&htim2,TIM_CHANNEL_1);
					FLAG_FAN_1_WORK = 0;
				}
				if(FLAG_FAN_2_WORK == 1)
				{
					HAL_TIM_PWM_Stop(&htim3,TIM_CHANNEL_1);
					FLAG_FAN_2_WORK = 0;
				}
		}
}
/**
****************************************************************************************
* @brief 			Zapisanie informacji o przekroczeniu temperatury krytycznej na karcie SD<br><br>
*							Dane zapisywane sa w postaci:<br>
*							Data, godzina, temperatura_krytyczna, temperatura_aktualna, aktywny czujnik, wlaczenie/wylaczenie wiatraka<br>
*							Funkcja pobiera dane o czasie przy pomocy wywolania HAL_RTC_GetTime i HAL_RTC_GetDate. Wazna jest kolejnosc wywolan,
*							uzycie tych funkcji w innej kolejnosci spowoduje utrate spojnosci otrzymywanych danych (HAL_RTC_GetDate zwraca
*							date pozyskana w momencie wywolania funkcji HAL_RTC_GetTime)<br>
*							O wymuszeniu zapisu wydarzenia informuje flaga FLAG_WRITE_SD.<br>
*
* @param 			Brak
*	@return			Brak
****************************************************************************************
*/
void WriteEvent(void)
{
	RTC_TimeTypeDef time_structure;
	RTC_DateTypeDef data_structure;
	HAL_RTC_GetTime(&hrtc,&time_structure,RTC_FORMAT_BCD);
	HAL_RTC_GetDate(&hrtc,&data_structure,RTC_FORMAT_BCD);
	char TEMP_BUFFER[100];
	if(FLAG_SD_SPACE_VALID ==1)
	{
				if (f_mount(&FatFs, "0:", 1) == FR_OK)
					{
						if (f_open(&fil, "0:log.txt", FA_OPEN_APPEND | FA_READ | FA_WRITE) == FR_OK)
						{
							snprintf(SD_BUFFER,250,"%x.%x.%x %x:%x:%x TCRIT=%u ",
							data_structure.Date,
							data_structure.Month,
							data_structure.Year,
							time_structure.Hours,
							time_structure.Minutes,
							time_structure.Seconds,
							critical_temp);

							switch(measurement_state)
							{
								case CORE:
								snprintf(TEMP_BUFFER,100,"T=%u CORE",(uint32_t)Measurement_CORE);
								break;

								case LM35:
								snprintf(TEMP_BUFFER,100,"T=%u LM35",(uint32_t)Measurement_LM35);
								break;

								case DS18B20:
								snprintf(TEMP_BUFFER,100,"T=%u DS18B20",(uint32_t)Measurement_DS18B20);
								break;
							}
							strncat(SD_BUFFER,TEMP_BUFFER,250-strlen(SD_BUFFER));
							if(FLAG_EVENT_ON == 1)
							{
								snprintf(TEMP_BUFFER,100," ON\n\r");
							}
							else if(FLAG_EVENT_OFF == 1)
							{
								snprintf(TEMP_BUFFER,100," OFF\n\r");
							}
							strncat(SD_BUFFER,TEMP_BUFFER,250-strlen(SD_BUFFER));
							if (f_puts(SD_BUFFER, &fil) < 0)
							{
								FLAG_SD_SPACE_VALID = 0;
							}
						}
						f_close(&fil);
					}
					else
					{
						FLAG_SD_SPACE_VALID = 0;
					}
					f_mount(0, "0:", 1);
	}
	FLAG_WRITE_SD = 0;
}

//BORYS

/**
****************************************************************************************
* @brief 			Sprawdzenie stanu zamontowanego nosnika (karta sd)<br><br>
* 						Wykorzystuje funkcje modulu FATFS do okreslenia liczby wolnych sektorow karty,
*							oraz calkowitej liczby sektorow<br>
*
*
* @param 			uint32_t* total : wskaznik na zmienna do ktorej zostanie wpisana liczba wszystkich sektorow
*	@param			uint32_t* free : wskaznik na zmienna do ktorej zostanie wpisana liczba wolnych sektorow
*	@return			(FRESULT) : zmienna typu FRESULT modulu FATFS, w przypadku zwracania wartosci innej niz FR_OK oznacza blad
****************************************************************************************
*/
FRESULT FATFS_DriveSize(uint32_t* total, uint32_t* free) {
	//*	@author		Tilen Majerle
	FATFS *fs;
  DWORD fre_clust;
	FRESULT res;

    /* Get volume information and free clusters of drive */
    res = f_getfree("0:", &fre_clust, &fs);
    if (res != FR_OK) {
		return res;
	}

    /* Get total sectors and free sectors */
    *total = (fs->n_fatent - 2) * fs->csize / 2;
    *free = fre_clust * fs->csize / 2;

	/* Return OK */
	return FR_OK;
}

/**
****************************************************************************************
* @brief 			Funkcja konfiguracyjna zwiazana z karta SD<br><br>
*							Funkcja montuje karte SD oraz otwiera (lub tworzy) plik konfiguracyjny, w ktorym przechowywane
*							sa dane o stanie urzadzenia. Sluzy do wczytywania zachowanej konfiguracji po utracie zasilania<br>
*							W przypadku bledu, braku wolnego miejsca lub braku karty SD
*							ustawiana jest flaga FLAG_SD_SPACE_VALID, blokujaca proby interakcji z karta do
*							momentu ponownego wlaczenia urzadzenia.
*
* @param 			Brak
*	@return			(FRESULT) : zmienna typu FRESULT modulu FATFS, w przypadku zwracania wartosci innej niz FR_OK oznacza blad
****************************************************************************************
*/
FRESULT FATFS_USER_INIT(void)
{
	FRESULT res;
	//Sproboj zamontowac
//	res=f_mount(&FatFs, "0:", 1);
//	if (res == FR_OK)
//	while (res != FR_OK || tries_index<=10)
//	res=f_mount(&FatFs, "0:", 1);
		res=f_mount(&FatFs, "0:", 1);
	/*
	if(res == FR_NOT_READY)
	{
		HAL_Delay(100);
		f_mount(0, "0:", 1);
		HAL_Delay(100);
		res=f_mount(&FatFs, "0:", 1);
	}
	*/
	if(res == FR_OK)
		{
			//Sproboj otworzyc plik
			if (f_open(&fil, "0:config.txt", FA_OPEN_ALWAYS | FA_READ |FA_WRITE) == FR_OK)
				{
					//Sprawdz dane o klastrach
					if (FATFS_DriveSize(&total_space, &free_space) == FR_OK)
						{
							/* Data for drive size are valid */
							FLAG_SD_SPACE_VALID = 1;
						}
				}
				f_close(&fil);
		}
		f_mount(0, "0:", 1);
		return res;
}

/**
****************************************************************************************
* @brief 			Funkcja inicjalizujaca peryferia zwiazane z warstwa HAL<br> <br>
*							Wywolywana jest na poczatku dzialania programu<br>
*							Inicjalizuje liczniki, porty GPIO, zegar systemowy, SPI i USART, przetworniki ADC, zegar RTC, modul FATFS<br>
*
*
* @param 			Brak
*	@return			Brak
****************************************************************************************
*/
void UserHalInit(void)
{
  /* MCU Configuration--------------------------------------------------------*/

  /* Reset of all peripherals, Initializes the Flash interface and the Systick. */
  HAL_Init();

  /* Configure the system clock */
  SystemClock_Config();

  /* Initialize all configured peripherals */
  MX_GPIO_Init();
  MX_DMA_Init();
  MX_RTC_Init();
  MX_TIM2_Init();
  MX_TIM3_Init();
  MX_TIM1_Init();
  MX_ADC1_Init();
  MX_TIM4_Init();
  MX_TIM5_Init();
  MX_USART2_UART_Init();
  MX_SPI2_Init();
  MX_FATFS_Init();
  MX_TIM9_Init();

	HAL_TIM_Base_Start(&htim4);
	HAL_TIM_Base_Start_IT(&htim5);
}

/**
****************************************************************************************
* @brief 			Funkcja inicjalizujaca obsluge zewnetrznych urzadzen<br> <br>
*							Wywolywana jest na poczatku dzialania programu<br>
*							Inicjalizowany jest wyswietlacz LCD, testowana komunikacja z modulem karty SD, nasluchiwanie UART,
*							oraz wykonywany jest pojedynczy pomiar ADC temperatury procesora STM32, w celu unikniecia nieprawidlowych pomiarow.<br>
*
*
* @param 			Brak
*	@return			Brak
****************************************************************************************
*/
void UserCustomInit(void)
{
  LCD_Init();
	measurement_period = 5; //seconds
	sd_card_write_period = 60; //konfiguracja co minute
	StartTemperatureMeasurement();
	HAL_Delay(5);
	sprintf(LCD_upper_line, "CORE: TRWA...");
	sprintf(LCD_BUFFER,"T_kryt: %d|Tryb: %d",critical_temp, fan_speed);
	UpdateLCD(0);
	UpdateLCD(1);
	FATFS_USER_INIT();
	HAL_UART_Receive_IT(&huart2, (uint8_t*)UART_RECEIVED, 10);
}
/**
****************************************************************************************
* @brief 			Funkcja sprawdzajaca potrzebe wykonanie pomiaru temperatury<br> <br>
*							Sprawdza flage FLAG_START_TEMPERATURE_MEASUREMENT<br>
*							Wywoluje StartTemperatureMeasurement()<br>
*
*
* @param 			Brak
*	@return			Brak
****************************************************************************************
*/
void CheckMeasurement(void)
{
 if(FLAG_START_TEMPERATURE_MEASUREMENT == 1)
		{
			StartTemperatureMeasurement();
		}
}
/**
****************************************************************************************
* @brief 			Funkcja sprawdzajaca mozliwosc komunikacji z modulem karty SD<br> <br>
*							Sprawdza flage FLAG_SD_SPACE_VALID<br>
*							W przypadku braku mozliwosci komunikacji zapala czerwona diode.<br>
*
*
* @param 			Brak
*	@return			Brak
****************************************************************************************
*/
void CheckSD(void)
{
if(FLAG_SD_SPACE_VALID == 0)
		{
			HAL_GPIO_WritePin(DIODA_GPIO_Port,DIODA_Pin,GPIO_PIN_SET);
		}
else
		{
			HAL_GPIO_WritePin(DIODA_GPIO_Port,DIODA_Pin,GPIO_PIN_RESET);
		}
}

/**
****************************************************************************************
* @brief 			Funkcja sprawdzajaca potrzebe zapisu informacji o przekroczeniu temperatury granicznej.<br> <br>
*							Sprawdza flage FLAG_WRITE_SD, komunikacja z SD musi dzialac (FLAG_SD_SPACE_VALID==1).<br>
*							Funkcja transmituje wiadomosc przez UART oraz wywoluje WriteEvent()<br>
*
*
* @param 			Brak
*	@return			Brak
****************************************************************************************
*/
void CheckTemperatureEvent(void)
{
if(FLAG_WRITE_SD ==1 && FLAG_SD_SPACE_VALID ==1)
		{
			UART_BUFFER_SIZE=sprintf(UART_BUFFER, "EVENT SD\n\r");
			while(HAL_UART_Transmit_IT(&huart2, (uint8_t*)UART_BUFFER, UART_BUFFER_SIZE) == HAL_BUSY)
			{
			}
			WriteEvent();
			FLAG_WRITE_SD = 0;
		}
}

/**
****************************************************************************************
* @brief 			Funkcja sprawdzajaca potrzebe zapisu informacji konfiguracyjnych<br> <br>
*							Stan pracy oraz data i godzina zblizona do aktualnej jest utrzymywana przez cykliczny zapis na karte SD.<br>
*							Sprawdza wlage FLAG_WRITE_CONFIG, komunikacja z SD musi dzialac (FLAG_SD_SPACE_VALID==1).<br>
*							Wywoluje WriteConfig()<br>
*
*
*
* @param 			Brak
*	@return			Brak
****************************************************************************************
*/
void CheckConfig(void)
{
if(FLAG_WRITE_CONFIG >0 && FLAG_SD_SPACE_VALID ==1)
		{
			WriteConfig();
			FLAG_WRITE_CONFIG = 0;
		}
}

int main(void)
{
	UserHalInit();
	UserCustomInit();
	LoadConfig();

  /* Infinite loop */
  while (1)
  {
		CheckMeasurement();
		CheckSD();
		CheckTemperatureEvent();
		CheckConfig();
  }
}

void SystemClock_Config(void)
{
  RCC_OscInitTypeDef RCC_OscInitStruct = {0};
  RCC_ClkInitTypeDef RCC_ClkInitStruct = {0};
  RCC_PeriphCLKInitTypeDef PeriphClkInitStruct = {0};

  /**Configure the main internal regulator output voltage
  */
  __HAL_RCC_PWR_CLK_ENABLE();
  __HAL_PWR_VOLTAGESCALING_CONFIG(PWR_REGULATOR_VOLTAGE_SCALE2);
  /**Initializes the CPU, AHB and APB busses clocks
  */
  RCC_OscInitStruct.OscillatorType = RCC_OSCILLATORTYPE_HSI|RCC_OSCILLATORTYPE_LSI;
  RCC_OscInitStruct.HSIState = RCC_HSI_ON;
  RCC_OscInitStruct.HSICalibrationValue = RCC_HSICALIBRATION_DEFAULT;
  RCC_OscInitStruct.LSIState = RCC_LSI_ON;
  RCC_OscInitStruct.PLL.PLLState = RCC_PLL_ON;
  RCC_OscInitStruct.PLL.PLLSource = RCC_PLLSOURCE_HSI;
  RCC_OscInitStruct.PLL.PLLM = 8;
  RCC_OscInitStruct.PLL.PLLN = 80;
  RCC_OscInitStruct.PLL.PLLP = RCC_PLLP_DIV2;
  RCC_OscInitStruct.PLL.PLLQ = 4;
  if (HAL_RCC_OscConfig(&RCC_OscInitStruct) != HAL_OK)
  {
    Error_Handler();
  }
  /**Initializes the CPU, AHB and APB busses clocks
  */
  RCC_ClkInitStruct.ClockType = RCC_CLOCKTYPE_HCLK|RCC_CLOCKTYPE_SYSCLK
                              |RCC_CLOCKTYPE_PCLK1|RCC_CLOCKTYPE_PCLK2;
  RCC_ClkInitStruct.SYSCLKSource = RCC_SYSCLKSOURCE_PLLCLK;
  RCC_ClkInitStruct.AHBCLKDivider = RCC_SYSCLK_DIV1;
  RCC_ClkInitStruct.APB1CLKDivider = RCC_HCLK_DIV2;
  RCC_ClkInitStruct.APB2CLKDivider = RCC_HCLK_DIV1;

  if (HAL_RCC_ClockConfig(&RCC_ClkInitStruct, FLASH_LATENCY_2) != HAL_OK)
  {
    Error_Handler();
  }
  PeriphClkInitStruct.PeriphClockSelection = RCC_PERIPHCLK_RTC;
  PeriphClkInitStruct.RTCClockSelection = RCC_RTCCLKSOURCE_LSI;
  if (HAL_RCCEx_PeriphCLKConfig(&PeriphClkInitStruct) != HAL_OK)
  {
    Error_Handler();
  }
}

void Error_Handler(void)
{
}

/************************ (C) COPYRIGHT STMicroelectronics *****END OF FILE****/
